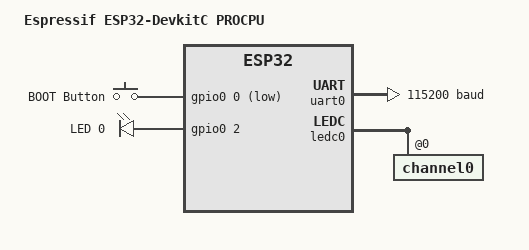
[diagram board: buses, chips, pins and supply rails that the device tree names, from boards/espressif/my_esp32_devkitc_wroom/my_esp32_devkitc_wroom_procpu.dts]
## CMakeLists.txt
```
# Copyright (c) 2021 Nordic Semiconductor ASA
# SPDX-License-Identifier: Apache-2.0
#
# This CMake file is picked by the Zephyr build system because it is defined
# as the module CMake entry point (see zephyr/module.yml).
cmake_minimum_required(VERSION 3.22)

# Set board
set(BOARD my_esp32_devkitc_wroom/esp32/procpu)
set(BOARD_ROOT ${CMAKE_CURRENT_SOURCE_DIR})

# Add zephyr base path
find_package(Zephyr REQUIRED HINTS $ENV{ZEPHYR_BASE})

# Add project name
project(wicked_dragon_fw)

# How to add message on build
#message(STATUS "ZEPHYR_BASE = ${ZEPHYR_BASE}")

# Add include path
zephyr_include_directories(include)

target_sources(app PRIVATE
                src/main.c
                src/message_hmi_main.c
                src/hmi/uart_cmd.c
                src/servo/servo_control.c
)

target_include_directories(app PRIVATE  src
                                        src/hmi
                                        src/servo
)
```

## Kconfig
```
# Copyright (c) 2021 Nordic Semiconductor ASA
# SPDX-License-Identifier: Apache-2.0
#
# This Kconfig file is picked by the Zephyr build system because it is defined
# as the module Kconfig entry point (see zephyr/module.yml). You can browse
# module options by going to Zephyr -> Modules in Kconfig.

rsource "drivers/Kconfig"
rsource "lib/Kconfig"

source "Kconfig.zephyr"
```

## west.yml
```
# Copyright (c) 2021 Nordic Semiconductor ASA
# SPDX-License-Identifier: Apache-2.0

manifest:
  self:
    west-commands: scripts/west-commands.yml

  remotes:
    - name: zephyrproject-rtos
      url-base: https://github.com/zephyrproject-rtos

  projects:
    - name: zephyr
      remote: zephyrproject-rtos
      revision: main
      import:
        # By using name-allowlist we can clone only the modules that are
        # strictly needed by the application.
        name-allowlist:
          - cmsis      # required by the ARM port
#          - hal_nordic # required by the custom_plank board (Nordic based)
#          - hal_stm32  # required by the nucleo_f302r8 board (STM32 based)
          - hal_espressif
  self:
    path: wicked_dragon_fw
```

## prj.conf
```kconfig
# Copyright (c) 2021 Nordic Semiconductor ASA
# SPDX-License-Identifier: Apache-2.0
#
# This file contains selected Kconfig options for the application.

CONFIG_SENSOR=y
CONFIG_BLINK=y

# compiler
# CONFIG_DEBUG_OPTIMIZATIONS=y

# # logging
# CONFIG_LOG=y
# CONFIG_APP_LOG_LEVEL_DBG=y
```

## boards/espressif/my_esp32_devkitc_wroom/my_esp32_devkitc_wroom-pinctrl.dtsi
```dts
/*
 * Copyright (c) 2022 Espressif Systems (Shanghai) Co., Ltd.
 *
 * SPDX-License-Identifier: Apache-2.0
 */

#include <zephyr/dt-bindings/pinctrl/esp-pinctrl-common.h>
#include <dt-bindings/pinctrl/esp32-pinctrl.h>
#include <zephyr/dt-bindings/pinctrl/esp32-gpio-sigmap.h>

&pinctrl {

	uart0_default: uart0_default {
		group1 {
			pinmux = <UART0_TX_GPIO1>;
			output-high;
		};
		group2 {
			pinmux = <UART0_RX_GPIO3>;
			bias-pull-up;
		};
	};

	// uart1_default: uart1_default {
	// 	group1 {
	// 		pinmux = <UART1_TX_GPIO10>;
	// 	};
	// 	group2 {
	// 		pinmux = <UART1_RX_GPIO9>;
	// 		bias-pull-up;
	// 	};
	// };

	// uart2_default: uart2_default {
	// 	group1 {
	// 		pinmux = <UART2_TX_GPIO17>;
	// 	};
	// 	group2 {
	// 		pinmux = <UART2_RX_GPIO16>;
	// 		bias-pull-up;
	// 	};
	// };

	// spim2_default: spim2_default {
	// 	group1 {
	// 		pinmux = <SPIM2_MISO_GPIO12>,
	// 			 <SPIM2_SCLK_GPIO14>,
	// 			 <SPIM2_CSEL_GPIO15>;
	// 	};
	// 	group2 {
	// 		pinmux = <SPIM2_MOSI_GPIO13>;
	// 		output-low;
	// 	};
	// };

	// spim3_default: spim3_default {
	// 	group1 {
	// 		pinmux = <SPIM3_MISO_GPIO19>,
	// 			 <SPIM3_SCLK_GPIO18>,
	// 			 <SPIM3_CSEL_GPIO5>;
	// 	};
	// 	group2 {
	// 		pinmux = <SPIM3_MOSI_GPIO23>;
	// 		output-low;
	// 	};
	// };

	// i2c0_default: i2c0_default {
	// 	group1 {
	// 		pinmux = <I2C0_SDA_GPIO21>,
	// 			 <I2C0_SCL_GPIO22>;
	// 		bias-pull-up;
	// 		drive-open-drain;
	// 		output-high;
	// 	};
	// };
};
```

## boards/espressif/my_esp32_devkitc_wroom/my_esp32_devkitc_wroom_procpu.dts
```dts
/*
 * Copyright (c) 2023 Espressif Systems (Shanghai) Co., Ltd.
 *
 * SPDX-License-Identifier: Apache-2.0
 */
/dts-v1/;

#include <espressif/esp32/esp32_wroom_32ue_n4.dtsi>
#include "my_esp32_devkitc_wroom-pinctrl.dtsi"
#include <zephyr/dt-bindings/input/input-event-codes.h>
#include <zephyr/dt-bindings/input/esp32-touch-sensor-input.h>
#include <espressif/partitions_0x1000_amp.dtsi>

/ {
	model = "Espressif ESP32-DevkitC PROCPU";
	compatible = "espressif,esp32";

	aliases {
		uart-0 = &uart0;
		i2c-0 = &i2c0;
		sw0 = &button0;
		watchdog0 = &wdt0;
		led0 = &led0;
		pwm-servo = &ledc0;
	};

	buttons {
		compatible = "gpio-keys";
		button0: button_0 {
			gpios = <&gpio0 0 (GPIO_PULL_UP | GPIO_ACTIVE_LOW)>;
			label = "BOOT Button";
			zephyr,code = <INPUT_KEY_0>;
		};
	};

	leds {
		compatible = "gpio-leds";
		led0: led_0 {
			gpios = <&gpio0 2 GPIO_ACTIVE_HIGH>;
			label = "LED 0";
		};
	};

	chosen {
		zephyr,sram = &sram1;
		zephyr,console = &uart0;
		zephyr,shell-uart = &uart0;
		zephyr,flash = &flash0;
		zephyr,code-partition = &slot0_partition;
		//zephyr,bt-hci = &esp32_bt_hci;
	};
};

&uart0 {
	status = "okay";
	current-speed = <115200>;
	pinctrl-0 = <&uart0_default>;
	pinctrl-names = "default";
};

&gpio0 {
	status = "okay";
};

&gpio1 {
	status = "okay";
};

&ledc0 {
    status = "okay";
    pinctrl-0 = <&ledc0_default>;
    pinctrl-names = "default";
    #address-cells = <1>;
    #size-cells = <0>;
    channel0@0 {
        reg = <0x0>;
        timer = <0>;
    };
};
```

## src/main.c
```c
/*
 * Copyright (c) 2021 Nordic Semiconductor ASA
 * SPDX-License-Identifier: Apache-2.0
 */

#include <zephyr/kernel.h>
#include <zephyr/drivers/gpio.h>
#include <zephyr/logging/log.h>
#include <zephyr/drivers/pwm.h>
#include <app_version.h>

/* LED device tree specification */
#define LED0_NODE DT_ALIAS(led0)

/* PWM device for servo control */
#define PWM_SERVO_NODE DT_ALIAS(pwm_servo)
/* Standard servo values (in microseconds) */
#define MIN_PULSE_WIDTH_US 1000  /* 1ms - typically -90 degrees */
#define MAX_PULSE_WIDTH_US 2000  /* 2ms - typically +90 degrees */
#define PERIOD_US 20000          /* 20ms (50Hz) - standard servo period */

#if !DT_NODE_HAS_STATUS(LED0_NODE, okay)
#error "LED0 GPIO node is not ready"
#endif

static const struct gpio_dt_spec led = GPIO_DT_SPEC_GET(LED0_NODE, gpios);
const struct device *pwm_dev = DEVICE_DT_GET(DT_ALIAS(pwm_servo));

int main(void)
{
    int ret;
    printk("Zephyr Servo Control Example\n");

    if (!device_is_ready(pwm_dev)) {
        printk("Error: PWM device %s is not ready\n", pwm_dev->name);
        return 1;
    }

    /* Set initial position (middle) */
    ret = pwm_set(pwm_dev, 0, PWM_USEC(PERIOD_US), PWM_USEC(PERIOD_US / 2), 0);
    if (ret < 0) {
        printk("Error %d: failed to set pulse width\n", ret);
        return 1;
    }


    printk("Zephyr Example Application %s\n", APP_VERSION_STRING);

    if (!device_is_ready(led.port)) {
        printk("Error: LED device %s is not ready\n", led.port->name);
        return 1;
    }

    ret = gpio_pin_configure_dt(&led, GPIO_OUTPUT_ACTIVE);
    if (ret < 0) {
        printk("Error %d: failed to configure LED pin\n", ret);
        return 1;
    }

    while (1) {
        /* Toggle LED state */
        gpio_pin_toggle_dt(&led);
        k_sleep(K_MSEC(50));
        gpio_pin_toggle_dt(&led);
        k_sleep(K_MSEC(1000));
    }

    return 0;
}
```

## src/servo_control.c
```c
/*
 * Copyright (c) 2021 Nordic Semiconductor ASA
 * SPDX-License-Identifier: Apache-2.0
 */

#include <zephyr/kernel.h>
#include <zephyr/drivers/gpio.h>
#include <zephyr/drivers/pwm.h>

/* PWM device for servo control */
#define PERIOD_US 20000          /* 20ms (50Hz) - standard servo period */

#define SERVO_THREAD_STACK_SIZE 1024
#define SERVO_THREAD_PRIORITY 7

#if !DT_NODE_HAS_STATUS(DT_ALIAS(led0), okay)
#error "LED0 GPIO node is not ready"
#endif

#if !DT_NODE_HAS_STATUS(DT_ALIAS(pwm0), okay)
#error "LED0 GPIO node is not ready"
#endif

static const struct gpio_dt_spec led = GPIO_DT_SPEC_GET(DT_ALIAS(led0), gpios);
static const struct pwm_dt_spec servo = PWM_DT_SPEC_GET(DT_ALIAS(pwm0));

// Thread initialization
K_THREAD_STACK_DEFINE(servo_thread_stack, SERVO_THREAD_STACK_SIZE);
struct k_thread servo_thread_data;
k_tid_t servo_thread_id;

// -----------------------------------
// Static functions
// -----------------------------------
static void servo_thread_entry(void *p1, void *p2, void *p3)
{
    int ret;
    printk("Servo Thread Started\n");

    if (!device_is_ready(servo.dev)) {
        printk("Error: PWM device %s is not ready\n", servo.dev->name);
        return;
    }

    if (!device_is_ready(led.port)) {
        printk("Error: LED device %s is not ready\n", led.port->name);
        return;
    }

    /* Set initial position (middle) */
    ret = pwm_set(servo.dev, 0, PWM_USEC(PERIOD_US), PWM_USEC(PERIOD_US / 2), 0);
    if (ret < 0) {
        printk("Error %d: failed to set pulse width\n", ret);
        return;
    }

    ret = gpio_pin_configure_dt(&led, GPIO_OUTPUT_ACTIVE);
    if (ret < 0) {
        printk("Error %d: failed to configure LED pin\n", ret);
        return;
    }

    while (1) {
        /* Toggle LED state */
        gpio_pin_toggle_dt(&led);
        k_sleep(K_MSEC(50));
        gpio_pin_toggle_dt(&led);
        k_sleep(K_MSEC(1000));
    }

    return;
}

// -----------------------------------
// Public functions
// -----------------------------------
void servo_thread_start(void)
{
    servo_thread_id = k_thread_create(&servo_thread_data, servo_thread_stack,
                                    K_THREAD_STACK_SIZEOF(servo_thread_stack),
                                    servo_thread_entry, NULL, NULL, NULL,
                                    SERVO_THREAD_PRIORITY, 0, K_NO_WAIT);
    printk("SERVO thread created\n");
}
```

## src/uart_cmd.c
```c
/*
 * Copyright (c) 2021 Nordic Semiconductor ASA
 * SPDX-License-Identifier: Apache-2.0
 */

#include <zephyr/kernel.h>
#include <zephyr/drivers/uart.h>
#include <zephyr/sys/ring_buffer.h>

#define UART_THREAD_STACK_SIZE 1024
#define UART_THREAD_PRIORITY 7

#define RING_BUF_SIZE 64

// Thread initialization
K_THREAD_STACK_DEFINE(uart_thread_stack, UART_THREAD_STACK_SIZE);
struct k_thread uart_thread_data;
k_tid_t uart_thread_id;

// UART and ring buffer initialization
RING_BUF_DECLARE(uart_ringbuf, RING_BUF_SIZE);
static const struct device *uart_dev = DEVICE_DT_GET(DT_NODELABEL(uart0));

// -----------------------------------
// Static functions
// -----------------------------------
static void process_uart_data(uint8_t data)
{
    if (data == '1') {
        printk("LED ON\n");
    } else if (data == '0') {
        printk("LED OFF\n");
    }
}

static void uart_cb(const struct device *dev, void *user_data)
{
    uint8_t received_byte;
    if (!uart_irq_update(dev)) {
        return;
    }

    while (uart_irq_rx_ready(dev)) {
        uart_fifo_read(dev, &received_byte, 1);
        ring_buf_put(&uart_ringbuf, &received_byte, 1);
    }
}

static void uart_thread_entry(void *p1, void *p2, void *p3)
{
    printk("UART Thread Started\n");

    if (!device_is_ready(uart_dev)) {
        printk("UART device not ready\n");
        return;
    }

    uart_irq_callback_user_data_set(uart_dev, uart_cb, NULL);
    uart_irq_rx_enable(uart_dev);

    uint8_t data;
    while (1) {
        while (ring_buf_get(&uart_ringbuf, &data, 1) > 0) {
            process_uart_data(data);
        }
        k_msleep(10);
    }
}

// -----------------------------------
// Public functions
// -----------------------------------
void uart_thread_start(void)
{
    uart_thread_id = k_thread_create(&uart_thread_data, uart_thread_stack,
                                     K_THREAD_STACK_SIZEOF(uart_thread_stack),
                                     uart_thread_entry, NULL, NULL, NULL,
                                     UART_THREAD_PRIORITY, 0, K_NO_WAIT);
    printk("UART thread created\n");
}
```
